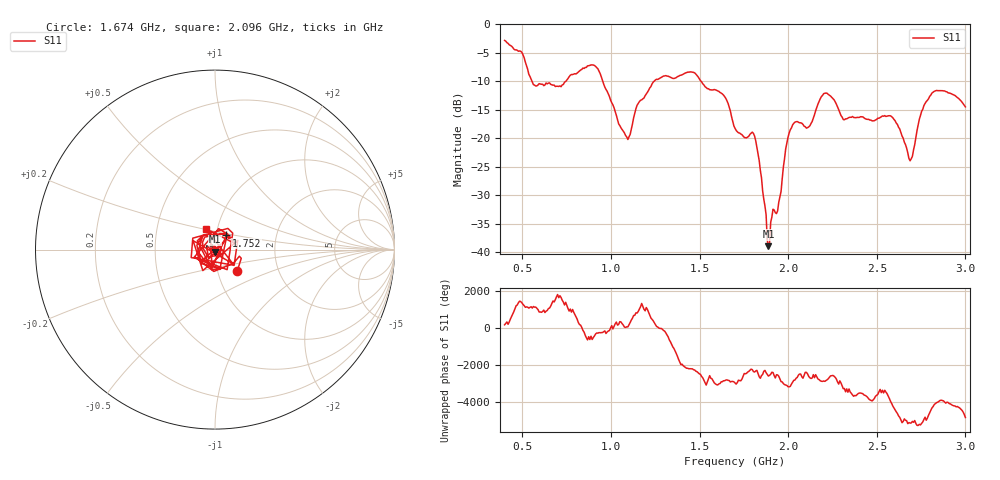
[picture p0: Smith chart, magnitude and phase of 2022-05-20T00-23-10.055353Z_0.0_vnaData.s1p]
!Created with skrf (http://scikit-rf.org).
# Hz S RI R 50.0
!freq ReS11 ImS11
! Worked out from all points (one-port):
!   401 points, 400 MHz to 3 GHz, reference 50 ohm
!   lowest |S11| = -38.9 dB at 1.889 GHz (marker M1), VSWR 1.02, Z = 50.1 - j1.13 ohm
!   |S11| at or under -10 dB: 554 MHz to 746.5 MHz (192.5 MHz wide, 29.6 % of centre); 953.3 MHz to 1.245 GHz (291.6 MHz wide, 26.5 % of centre); 1.508 GHz to end of sweep
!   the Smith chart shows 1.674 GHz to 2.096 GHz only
!   S11 on the Smith chart (normalised r, x): 1.674 GHz: 1.24, -0.31; 1.752 GHz: 1.12, +0.18; 2.096 GHz: 0.88, +0.21
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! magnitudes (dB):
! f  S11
! 400 MHz  -2.9
! 497.5 MHz  -5.0
! 569 MHz  -10.7
! 725 MHz  -10.7
! 913.5 MHz  -7.4
! 1.05 GHz  -17.8
! 1.095 GHz  -20.2
! 1.154 GHz  -13.9
! 1.245 GHz  -10.0
! 1.375 GHz  -9.2
! 1.472 GHz  -8.6
! 1.674 GHz  -15.2
! 1.7 GHz  -18.3
! 1.752 GHz  -19.8
! 1.817 GHz  -20.5
! 1.889 GHz  -38.9
! 1.947 GHz  -31.2
! 1.992 GHz  -20.9
! 2.025 GHz  -17.7
! 2.096 GHz  -18.0
! 2.207 GHz  -12.1
! 2.35 GHz  -16.3
! 2.584 GHz  -16.2
! 2.675 GHz  -22.6
! 2.695 GHz  -23.6
! 2.753 GHz  -15.3
! 2.818 GHz  -11.9
! 3 GHz  -14.5
